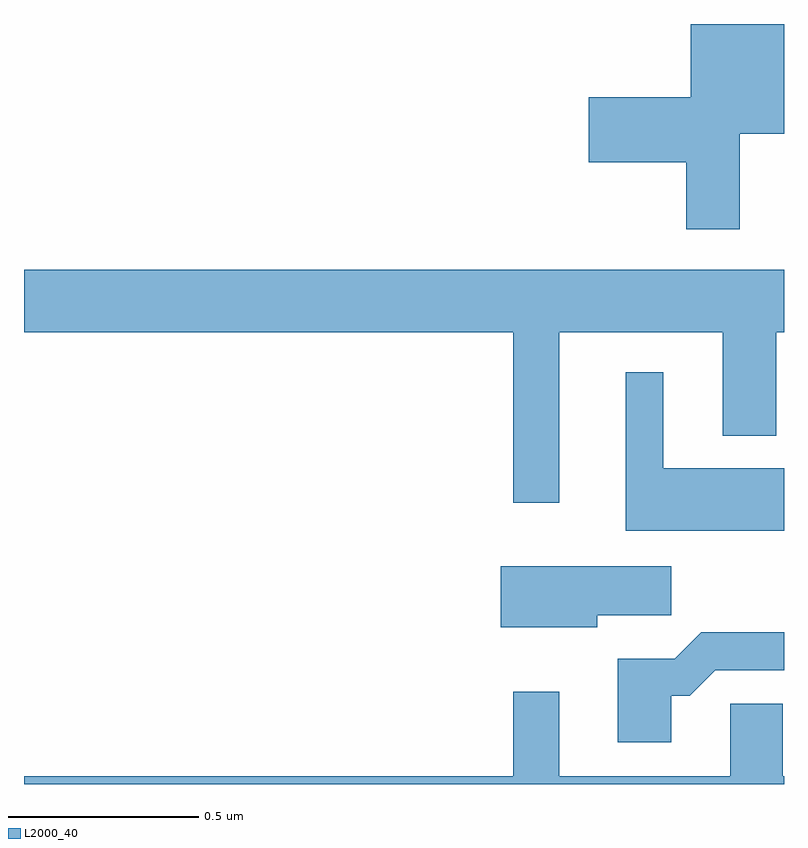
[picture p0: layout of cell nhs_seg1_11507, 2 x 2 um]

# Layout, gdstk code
import gdstk
lib = gdstk.Library(unit=1e-6, precision=1e-09)
def P(c, l, *ps):  # polygons
    for p in ps: c.add(gdstk.Polygon(p, *l))
L2000_40 = (2000, 40)

nhs_seg1_11507 = lib.new_cell('nhs_seg1_11507')
P(nhs_seg1_11507, L2000_40, [(255.883,562.91),(256,562.91),(256,563.199),(255.755,563.199),(255.755,563.006),(255.486,563.006),(255.486,562.835),(255.743,562.835),(255.743,562.659),(255.883,562.659)],
  [(255.409,562.388),(255.839,562.388),(255.839,562.115),(255.979,562.115),(255.979,562.388),(256,562.388),(256,562.552),(254,562.552),(254,562.388),(255.288,562.388),(255.288,561.939),(255.409,561.939)],
  [(256,562.03),(255.682,562.03),(255.682,562.282),(255.584,562.282),(255.584,561.866),(256,561.866)],
  [(255.508,561.643),(255.703,561.643),(255.703,561.772),(255.254,561.772),(255.254,561.611),(255.508,561.611)],
  [(255.703,561.431),(255.752,561.431),(255.819,561.498),(256,561.498),(256,561.599),(255.782,561.599),(255.712,561.529),(255.563,561.529),(255.563,561.309),(255.703,561.309)],
  [(256,561.22),(255.997,561.22),(255.997,561.41),(255.858,561.41),(255.858,561.22),(255.409,561.22),(255.409,561.442),(255.288,561.442),(255.288,561.22),(254,561.22),(254,561.199),(256,561.199)])

lib.write_gds('nhs_seg1_11507.gds')
